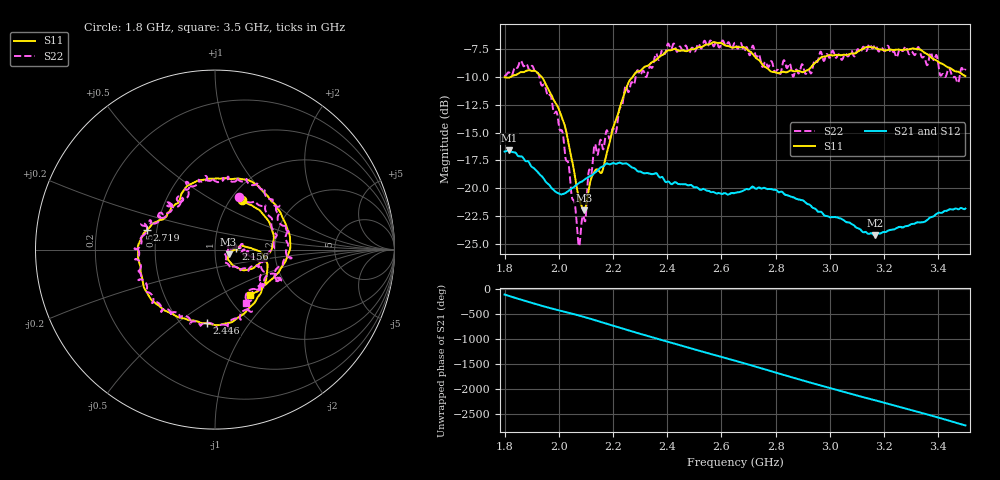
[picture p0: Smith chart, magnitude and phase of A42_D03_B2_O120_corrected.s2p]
! Created with skrf 1.9.0 (http://scikit-rf.org).
# Hz S RI R 50.0
!freq ReS11 ImS11 ReS21 ImS21 ReS12 ImS12 ReS22 ImS22
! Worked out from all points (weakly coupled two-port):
!   1601 points, 1.8 GHz to 3.5 GHz, reference 50 ohm
!   highest |S21| = -16.60 dB at 1.817 GHz (marker M1); lowest = -24.2 dB at 3.165 GHz (marker M2)
!   lowest |S11| = -22.0 dB at 2.092 GHz (marker M3), VSWR 1.17, Z = 58.1 - j3.07 ohm
!   |S11| at or under -10 dB: start of sweep to 1.823 GHz; 1.936 GHz to 2.273 GHz (336.6 MHz wide, 16 % of centre)
!   |S22| runs from -25.2 to -6.7 dB; largest |S21 - S12| = 0.0025
!   S11 on the Smith chart (normalised r, x): 1.8 GHz: 1.13, +0.69; 2.156 GHz: 1.26, +0.02; 2.446 GHz: 0.66, -0.65; 2.719 GHz: 0.44, +0.11; 3.5 GHz: 1.26, -0.71
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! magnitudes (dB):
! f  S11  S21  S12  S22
! 1.8 GHz  -10.0  -16.7  -16.7  -9.8
! 1.817 GHz  -10.1  -16.6  -16.6  -9.6
! 1.903 GHz  -9.5  -18.1  -18.1  -9.0
! 1.968 GHz  -11.4  -19.8  -19.8  -11.6
! 2.014 GHz  -13.8  -20.5  -20.5  -14.9
! 2.072 GHz  -20.6  -19.6  -19.6  -24.9
! 2.084 GHz  -21.6  -19.4  -19.4  -23.1
! 2.092 GHz  -22.0  -19.3  -19.3  -22.6
! 2.13 GHz  -18.5  -18.6  -18.6  -16.3
! 2.156 GHz  -18.6  -18.1  -18.1  -15.7
! 2.209 GHz  -14.0  -17.8  -17.8  -15.0
! 2.258 GHz  -10.5  -17.9  -17.9  -11.4
! 2.367 GHz  -8.3  -18.9  -18.8  -8.5
! 2.446 GHz  -7.7  -19.6  -19.6  -7.3
! 2.65 GHz  -7.4  -20.4  -20.4  -7.0
! 2.719 GHz  -8.1  -19.9  -19.8  -7.4
! 2.803 GHz  -9.6  -20.2  -20.2  -9.5
! 2.934 GHz  -9.1  -21.7  -21.6  -9.5
! 3.165 GHz  -7.4  -24.2  -24.2  -7.2
! 3.217 GHz  -7.6  -23.8  -23.7  -7.4
! 3.469 GHz  -9.5  -21.8  -21.8  -10.5
! 3.5 GHz  -9.9  -21.8  -21.8  -9.3
